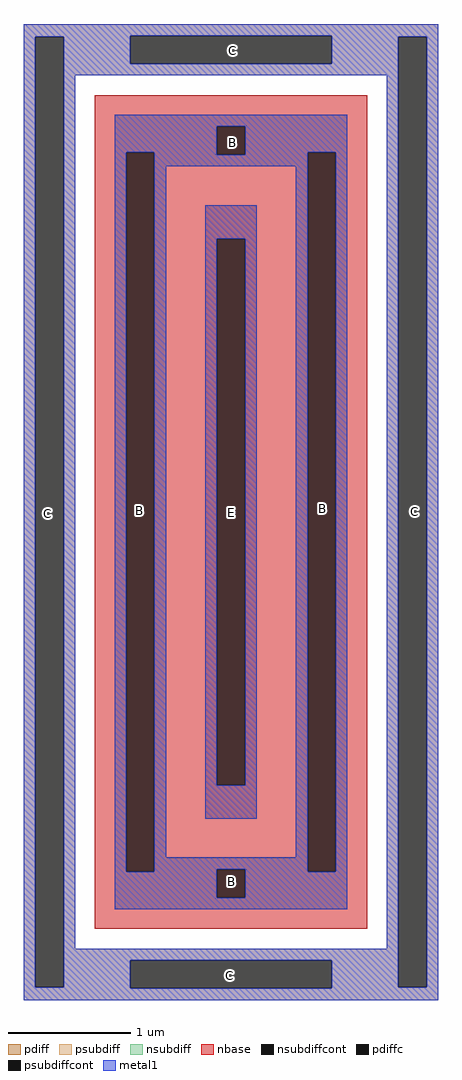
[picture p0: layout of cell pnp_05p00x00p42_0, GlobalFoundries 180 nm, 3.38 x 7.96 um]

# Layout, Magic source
magic
tech gf180mcuD
magscale 1 10
<< nbase >>
rect -222 -680 222 680
<< pdiff >>
rect -42 446 42 500
rect -42 -446 -23 446
rect 23 -446 42 446
rect -42 -500 42 -446
<< pdiffc >>
rect -23 -446 23 446
<< psubdiff >>
rect -338 777 338 796
rect -338 775 -164 777
rect -338 -775 -319 775
rect -273 731 -164 775
rect 164 775 338 777
rect 164 731 273 775
rect -273 712 273 731
rect -273 -712 -254 712
rect 254 -712 273 712
rect -273 -731 273 -712
rect -273 -775 -164 -731
rect -338 -777 -164 -775
rect 164 -775 273 -731
rect 319 -775 338 775
rect 164 -777 338 -775
rect -338 -796 338 -777
<< nsubdiff >>
rect -190 629 190 648
rect -190 587 -23 629
rect -190 -587 -171 587
rect -125 583 -23 587
rect 23 587 190 629
rect 23 583 125 587
rect -125 564 125 583
rect -125 -564 -106 564
rect 106 -564 125 564
rect -125 -583 125 -564
rect -125 -587 -23 -583
rect -190 -629 -23 -587
rect 23 -587 125 -583
rect 171 -587 190 587
rect 23 -629 190 -587
rect -190 -648 190 -629
<< psubdiffcont >>
rect -319 -775 -273 775
rect -164 731 164 777
rect -164 -777 164 -731
rect 273 -775 319 775
<< nsubdiffcont >>
rect -171 -587 -125 587
rect -23 583 23 629
rect -23 -629 23 -583
rect 125 -587 171 587
<< metal1 >>
rect -338 777 338 796
rect -338 775 -164 777
rect -338 -775 -319 775
rect -273 731 -164 775
rect 164 775 338 777
rect 164 731 273 775
rect -273 712 273 731
rect -273 -712 -254 712
rect -190 629 190 648
rect -190 587 -23 629
rect -190 -587 -171 587
rect -125 583 -23 587
rect 23 587 190 629
rect 23 583 125 587
rect -125 564 125 583
rect -125 -563 -106 564
rect -42 446 42 500
rect -42 -446 -23 446
rect 23 -446 42 446
rect -42 -500 42 -446
rect 106 -563 125 564
rect -125 -583 125 -563
rect -125 -587 -23 -583
rect -190 -629 -23 -587
rect 23 -587 125 -583
rect 171 -587 190 587
rect 23 -629 190 -587
rect -190 -648 190 -629
rect 254 -712 273 712
rect -273 -731 273 -712
rect -273 -775 -164 -731
rect -338 -777 -164 -775
rect 164 -775 273 -731
rect 319 -775 338 775
rect 164 -777 338 -775
rect -338 -796 338 -777
<< labels >>
flabel nsubdiffcont -150 3 -150 3 0 FreeSans 400 0 0 0 B
flabel pdiffc 0 -1 0 -1 0 FreeSans 400 0 0 0 E
flabel nsubdiffcont 2 603 2 603 0 FreeSans 400 0 0 0 B
flabel nsubdiffcont 150 5 150 5 0 FreeSans 400 0 0 0 B
flabel nsubdiffcont 1 -603 1 -603 0 FreeSans 400 0 0 0 B
flabel psubdiffcont 3 753 3 753 0 FreeSans 400 0 0 0 C
flabel psubdiffcont 300 1 300 1 0 FreeSans 400 0 0 0 C
flabel psubdiffcont -2 -756 -2 -756 0 FreeSans 400 0 0 0 C
flabel psubdiffcont -299 -2 -299 -2 0 FreeSans 400 0 0 0 C
<< properties >>
string GDS_END 7426
string GDS_FILE $PDKPATH/libs.ref/gf180mcu_fd_pr/gds/pnp_05p00x00p42.gds
string GDS_START 112
string gencell pnp_05p00x00p42
string library gf180mcu
string parameter m=1
<< end >>
